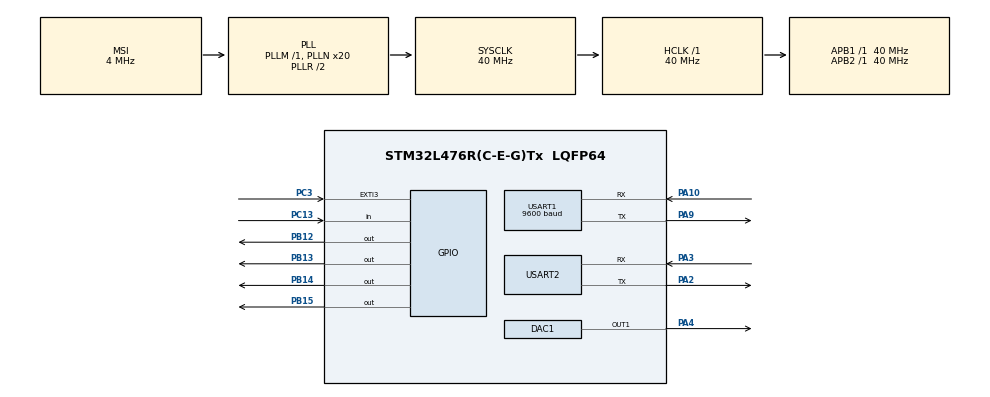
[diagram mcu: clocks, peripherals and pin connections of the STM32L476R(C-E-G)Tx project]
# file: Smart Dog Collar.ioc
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DAC1.DAC_Trigger-DAC_OUT1=DAC_TRIGGER_T2_TRGO
Dma.DAC_CH1.0.Direction=DMA_MEMORY_TO_PERIPH
Dma.DAC_CH1.0.Instance=DMA2_Channel4
Dma.DAC_CH1.0.MemDataAlignment=DMA_MDATAALIGN_BYTE
Dma.DAC_CH1.0.MemInc=DMA_MINC_ENABLE
Dma.DAC_CH1.0.Mode=DMA_NORMAL
Dma.DAC_CH1.0.PeriphDataAlignment=DMA_PDATAALIGN_BYTE
Dma.DAC_CH1.0.PeriphInc=DMA_PINC_DISABLE
Dma.DAC_CH1.0.Priority=DMA_PRIORITY_LOW
Dma.Request0=DAC_CH1
IWDG.Prescaler=IWDG_PRESCALER_256
IWDG.Reload=1875
Mcu.Family=STM32L4
Mcu.Name=STM32L476R(C-E-G)Tx
Mcu.Package=LQFP64
NVIC.DMA2_Channel4_IRQn=true\:0\:0\:false\:false\:true\:false\:true\:true
NVIC.PriorityGroup=NVIC_PRIORITYGROUP_4
NVIC.USART2_IRQn=true\:0\:0\:false\:false\:true\:true\:true\:true
PA10.Mode=Asynchronous
PA10.Signal=USART1_RX
PA13\ (JTMS-SWDIO).Signal=SYS_JTMS-SWDIO
PA14\ (JTCK-SWCLK).Signal=SYS_JTCK-SWCLK
PA2.Mode=Asynchronous
PA2.Signal=USART2_TX
PA3.Mode=Asynchronous
PA3.Signal=USART2_RX
PA4.Signal=COMP_DAC11_group
PA9.Mode=Asynchronous
PA9.Signal=USART1_TX
PB12.Signal=GPIO_Output
PB13.Signal=GPIO_Output
PB14.Signal=GPIO_Output
PB15.Signal=GPIO_Output
PC13.Signal=GPIO_Input
PC3.Signal=GPXTI3
PC4.Signal=USART3_TX
PC5.Signal=USART3_RX
PH0-OSC_IN\ (PH0).Signal=RCC_OSC_IN
ProjectManager.HeapSize=0x200
ProjectManager.StackSize=0x400
ProjectManager.TargetToolchain=STM32CubeIDE
RCC.AHBFreq_Value=40000000
RCC.APB1Freq_Value=40000000
RCC.APB1TimFreq_Value=40000000
RCC.APB2Freq_Value=40000000
RCC.APB2TimFreq_Value=40000000
RCC.CortexFreq_Value=40000000
RCC.HCLKFreq_Value=40000000
RCC.HSE_VALUE=8000000
RCC.HSI_VALUE=16000000
RCC.LSE_VALUE=32768
RCC.MSI_VALUE=4000000
RCC.PLLN=20
RCC.SYSCLKFreq_VALUE=40000000
RCC.SYSCLKSource=RCC_SYSCLKSOURCE_PLLCLK
RCC.VCOOutputFreq_Value=80000000
SH.COMP_DAC11_group.0=DAC1_OUT1,DAC_OUT1
TIM2.Period=1250
TIM2.TIM_MasterOutputTrigger=TIM_TRGO_UPDATE
USART1.BaudRate=9600
USART1.Mode=MODE_RX
USART1.VirtualMode-Asynchronous=VM_ASYNC
USART2.VirtualMode-Asynchronous=VM_ASYNC
VP_IWDG_VS_IWDG.Mode=IWDG_Activate
VP_TIM2_VS_ClockSourceINT.Mode=Internal
board=custom

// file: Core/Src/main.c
/* USER CODE BEGIN Header */
/**
  ******************************************************************************
  * @file           : main.c
  * @brief          : Main program body
  ******************************************************************************
  * @attention
  *
  * Copyright (c) 2024 STMicroelectronics.
  * All rights reserved.
  *
  * This software is licensed under terms that can be found in the LICENSE file
  * in the root directory of this software component.
  * If no LICENSE file comes with this software, it is provided AS-IS.
  *
  ******************************************************************************
  */
/* USER CODE END Header */
#include "main.h"

/* USER CODE BEGIN Includes */
#include "stm32l476xx.h"
#include "stm32l4xx.h"
#include <stdint.h>
#include <stdio.h>
#include <math.h>
#include <string.h>
/* USER CODE END Includes */

DAC_HandleTypeDef hdac1;
DMA_HandleTypeDef hdma_dac_ch1;

IWDG_HandleTypeDef hiwdg;

TIM_HandleTypeDef htim2;

UART_HandleTypeDef huart1;
UART_HandleTypeDef huart2;

void SystemClock_Config(void);
static void MX_GPIO_Init(void);
static void MX_DMA_Init(void);
static void MX_USART2_UART_Init(void);
static void MX_DAC1_Init(void);
static void MX_USART1_UART_Init(void);
static void MX_TIM2_Init(void);
static void MX_IWDG_Init(void);
/* USER CODE BEGIN PFP */
#ifdef __GNUC__
#define PUTCHAR_PROTOTYPE int __io_putchar(int ch)
#else
#define PUTCHAR_PROTOTYPE int fputc(int ch, FILE *f)
#endif

PUTCHAR_PROTOTYPE
{
  HAL_UART_Transmit(&huart2, (uint8_t *)&ch, 1, HAL_MAX_DELAY);
  return ch;
}

//LoRa uart and dma enable
void init_usart3(void);
void enable_tty_interrupt(void);

//LoRa settings and sending data
void send_lora(char *, int, int);
void setup_lora(void);

//timer for GPS interrupt
void init_tim7();

/* USER CODE END PFP */

/* USER CODE BEGIN 0 */

//LoRa uart rolling buffer
#define FIFOSIZE 16
char serfifo[FIFOSIZE];
int seroffset = 0;

//LoRa buffers
#define LORA_BUF_SIZE 240
uint8_t tx_data_lora[LORA_BUF_SIZE];
uint8_t tx_received[24] = "AT+SEND=123,8,Received\r\n";
// uint8_t rx_data_lora[LORA_BUF_SIZE];

//GPS
#define GNGGA_SIZE 36
uint8_t rx_data_gps[GNGGA_SIZE];
uint8_t isG;
uint8_t gpsbuf;

//Audio Sounds
const uint8_t zero[1] = {0};
extern const uint8_t stopCommand[18200];
extern const uint8_t whistle[24580];
extern const uint8_t Se7enNo[19316];

/* USER CODE END 0 */

int main(void)
{

  /* MCU Configuration--------------------------------------------------------*/

  /* Reset of all peripherals, Initializes the Flash interface and the Systick. */
  HAL_Init();

  /* Configure the system clock */
  SystemClock_Config();

  /* Initialize all configured peripherals */
  MX_GPIO_Init();
  MX_DMA_Init();
  MX_USART2_UART_Init();
  MX_DAC1_Init();
  MX_USART1_UART_Init();
  MX_TIM2_Init();
  MX_IWDG_Init();
  /* USER CODE BEGIN 2 */

  printf("Start of code\r\n");

  bzero(serfifo, FIFOSIZE);
  init_usart3();
  enable_tty_interrupt();
  setup_lora();

  init_tim7();

  HAL_GPIO_WritePin(GPIOB, GPIO_PIN_12, 0);
  HAL_GPIO_WritePin(GPIOB, GPIO_PIN_13, 0);
  HAL_GPIO_WritePin(GPIOB, GPIO_PIN_14, 0);
  HAL_GPIO_WritePin(GPIOB, GPIO_PIN_15, 0);

  HAL_TIM_Base_Start_IT(&htim2);

  // HAL_DAC_Start_DMA(&hdac1, DAC_CHANNEL_1, (uint8_t*)zero, 1, DAC_ALIGN_8B_R);

  // HAL_Delay(5000);
  // HAL_TIM_Base_Start_IT(&htim7);

  // HAL_NVIC_SetPriority(TIM7_IRQn, 15, 0);
  // HAL_NVIC_SetPriority(USART3_IRQn, 0, 0);

  /* USER CODE END 2 */

  /* Infinite loop */
  while (1)
  {

    /* USER CODE BEGIN 3 */

    // while (!(USART3->ISR & USART_ISR_RXNE)) { }
    // char c = USART3->RDR;
    // while(!(USART3->ISR & USART_ISR_TXE)) { }
    // USART3->TDR = c;

    // HAL_DAC_Start_DMA(&hdac1, DAC_CHANNEL_1, (uint8_t*)stopCommand, 18200, DAC_ALIGN_8B_R);
    // HAL_GPIO_TogglePin(GPIOA, GPIO_PIN_5);
    HAL_Delay(1000);
    HAL_IWDG_Refresh(&hiwdg);

  }

  /* USER CODE END 3 */
}

void SystemClock_Config(void)
{
  RCC_OscInitTypeDef RCC_OscInitStruct = {0};
  RCC_ClkInitTypeDef RCC_ClkInitStruct = {0};

  /** Configure the main internal regulator output voltage
  */
  if (HAL_PWREx_ControlVoltageScaling(PWR_REGULATOR_VOLTAGE_SCALE1) != HAL_OK)
  {
    Error_Handler();
  }

  /** Initializes the RCC Oscillators according to the specified parameters
  * in the RCC_OscInitTypeDef structure.
  */
  RCC_OscInitStruct.OscillatorType = RCC_OSCILLATORTYPE_LSI|RCC_OSCILLATORTYPE_MSI;
  RCC_OscInitStruct.LSIState = RCC_LSI_ON;
  RCC_OscInitStruct.MSIState = RCC_MSI_ON;
  RCC_OscInitStruct.MSICalibrationValue = 0;
  RCC_OscInitStruct.MSIClockRange = RCC_MSIRANGE_6;
  RCC_OscInitStruct.PLL.PLLState = RCC_PLL_ON;
  RCC_OscInitStruct.PLL.PLLSource = RCC_PLLSOURCE_MSI;
  RCC_OscInitStruct.PLL.PLLM = 1;
  RCC_OscInitStruct.PLL.PLLN = 20;
  RCC_OscInitStruct.PLL.PLLP = RCC_PLLP_DIV7;
  RCC_OscInitStruct.PLL.PLLQ = RCC_PLLQ_DIV2;
  RCC_OscInitStruct.PLL.PLLR = RCC_PLLR_DIV2;
  if (HAL_RCC_OscConfig(&RCC_OscInitStruct) != HAL_OK)
  {
    Error_Handler();
  }

  /** Initializes the CPU, AHB and APB buses clocks
  */
  RCC_ClkInitStruct.ClockType = RCC_CLOCKTYPE_HCLK|RCC_CLOCKTYPE_SYSCLK
                              |RCC_CLOCKTYPE_PCLK1|RCC_CLOCKTYPE_PCLK2;
  RCC_ClkInitStruct.SYSCLKSource = RCC_SYSCLKSOURCE_PLLCLK;
  RCC_ClkInitStruct.AHBCLKDivider = RCC_SYSCLK_DIV1;
  RCC_ClkInitStruct.APB1CLKDivider = RCC_HCLK_DIV1;
  RCC_ClkInitStruct.APB2CLKDivider = RCC_HCLK_DIV1;

  if (HAL_RCC_ClockConfig(&RCC_ClkInitStruct, FLASH_LATENCY_2) != HAL_OK)
  {
    Error_Handler();
  }
}

static void MX_DAC1_Init(void)
{

  DAC_ChannelConfTypeDef sConfig = {0};

  /** DAC Initialization
  */
  hdac1.Instance = DAC1;
  if (HAL_DAC_Init(&hdac1) != HAL_OK)
  {
    Error_Handler();
  }

  /** DAC channel OUT1 config
  */
  sConfig.DAC_SampleAndHold = DAC_SAMPLEANDHOLD_DISABLE;
  sConfig.DAC_Trigger = DAC_TRIGGER_T2_TRGO;
  sConfig.DAC_OutputBuffer = DAC_OUTPUTBUFFER_ENABLE;
  sConfig.DAC_ConnectOnChipPeripheral = DAC_CHIPCONNECT_DISABLE;
  sConfig.DAC_UserTrimming = DAC_TRIMMING_FACTORY;
  if (HAL_DAC_ConfigChannel(&hdac1, &sConfig, DAC_CHANNEL_1) != HAL_OK)
  {
    Error_Handler();
  }

}

static void MX_IWDG_Init(void)
{

  hiwdg.Instance = IWDG;
  hiwdg.Init.Prescaler = IWDG_PRESCALER_256;
  hiwdg.Init.Window = 4095;
  hiwdg.Init.Reload = 1875;
  if (HAL_IWDG_Init(&hiwdg) != HAL_OK)
  {
    Error_Handler();
  }

}

static void MX_TIM2_Init(void)
{

  TIM_ClockConfigTypeDef sClockSourceConfig = {0};
  TIM_MasterConfigTypeDef sMasterConfig = {0};

  htim2.Instance = TIM2;
  htim2.Init.Prescaler = 0;
  htim2.Init.CounterMode = TIM_COUNTERMODE_UP;
  htim2.Init.Period = 1250;
  htim2.Init.ClockDivision = TIM_CLOCKDIVISION_DIV1;
  htim2.Init.AutoReloadPreload = TIM_AUTORELOAD_PRELOAD_DISABLE;
  if (HAL_TIM_Base_Init(&htim2) != HAL_OK)
  {
    Error_Handler();
  }
  sClockSourceConfig.ClockSource = TIM_CLOCKSOURCE_INTERNAL;
  if (HAL_TIM_ConfigClockSource(&htim2, &sClockSourceConfig) != HAL_OK)
  {
    Error_Handler();
  }
  sMasterConfig.MasterOutputTrigger = TIM_TRGO_UPDATE;
  sMasterConfig.MasterSlaveMode = TIM_MASTERSLAVEMODE_DISABLE;
  if (HAL_TIMEx_MasterConfigSynchronization(&htim2, &sMasterConfig) != HAL_OK)
  {
    Error_Handler();
  }

}

static void MX_USART1_UART_Init(void)
{

  huart1.Instance = USART1;
  huart1.Init.BaudRate = 9600;
  huart1.Init.WordLength = UART_WORDLENGTH_8B;
  huart1.Init.StopBits = UART_STOPBITS_1;
  huart1.Init.Parity = UART_PARITY_NONE;
  huart1.Init.Mode = UART_MODE_RX;
  huart1.Init.HwFlowCtl = UART_HWCONTROL_NONE;
  huart1.Init.OverSampling = UART_OVERSAMPLING_16;
  huart1.Init.OneBitSampling = UART_ONE_BIT_SAMPLE_DISABLE;
  huart1.AdvancedInit.AdvFeatureInit = UART_ADVFEATURE_NO_INIT;
  if (HAL_UART_Init(&huart1) != HAL_OK)
  {
    Error_Handler();
  }

}

static void MX_USART2_UART_Init(void)
{

  huart2.Instance = USART2;
  huart2.Init.BaudRate = 115200;
  huart2.Init.WordLength = UART_WORDLENGTH_8B;
  huart2.Init.StopBits = UART_STOPBITS_1;
  huart2.Init.Parity = UART_PARITY_NONE;
  huart2.Init.Mode = UART_MODE_TX_RX;
  huart2.Init.HwFlowCtl = UART_HWCONTROL_NONE;
  huart2.Init.OverSampling = UART_OVERSAMPLING_16;
  huart2.Init.OneBitSampling = UART_ONE_BIT_SAMPLE_DISABLE;
  huart2.AdvancedInit.AdvFeatureInit = UART_ADVFEATURE_NO_INIT;
  if (HAL_UART_Init(&huart2) != HAL_OK)
  {
    Error_Handler();
  }

}

static void MX_DMA_Init(void)
{

  /* DMA controller clock enable */
  __HAL_RCC_DMA2_CLK_ENABLE();

  /* DMA interrupt init */
  /* DMA2_Channel4_IRQn interrupt configuration */
  HAL_NVIC_SetPriority(DMA2_Channel4_IRQn, 0, 0);
  HAL_NVIC_EnableIRQ(DMA2_Channel4_IRQn);

}

static void MX_GPIO_Init(void)
{
  GPIO_InitTypeDef GPIO_InitStruct = {0};

  /* GPIO Ports Clock Enable */
  __HAL_RCC_GPIOC_CLK_ENABLE();
  __HAL_RCC_GPIOH_CLK_ENABLE();
  __HAL_RCC_GPIOA_CLK_ENABLE();
  __HAL_RCC_GPIOB_CLK_ENABLE();

  /*Configure GPIO pin Output Level */
  HAL_GPIO_WritePin(GPIOB, GPIO_PIN_12|GPIO_PIN_13|GPIO_PIN_14|GPIO_PIN_15, GPIO_PIN_RESET);

  /*Configure GPIO pin : PC13 */
  GPIO_InitStruct.Pin = GPIO_PIN_13;
  GPIO_InitStruct.Mode = GPIO_MODE_INPUT;
  GPIO_InitStruct.Pull = GPIO_NOPULL;
  HAL_GPIO_Init(GPIOC, &GPIO_InitStruct);

  /*Configure GPIO pin : PC3 */
  GPIO_InitStruct.Pin = GPIO_PIN_3;
  GPIO_InitStruct.Mode = GPIO_MODE_IT_RISING;
  GPIO_InitStruct.Pull = GPIO_NOPULL;
  HAL_GPIO_Init(GPIOC, &GPIO_InitStruct);

  /*Configure GPIO pins : PC4 PC5 */
  GPIO_InitStruct.Pin = GPIO_PIN_4|GPIO_PIN_5;
  GPIO_InitStruct.Mode = GPIO_MODE_AF_PP;
  GPIO_InitStruct.Pull = GPIO_NOPULL;
  GPIO_InitStruct.Speed = GPIO_SPEED_FREQ_VERY_HIGH;
  GPIO_InitStruct.Alternate = GPIO_AF7_USART3;
  HAL_GPIO_Init(GPIOC, &GPIO_InitStruct);

  /*Configure GPIO pins : PB12 PB13 PB14 PB15 */
  GPIO_InitStruct.Pin = GPIO_PIN_12|GPIO_PIN_13|GPIO_PIN_14|GPIO_PIN_15;
  GPIO_InitStruct.Mode = GPIO_MODE_OUTPUT_PP;
  GPIO_InitStruct.Pull = GPIO_NOPULL;
  GPIO_InitStruct.Speed = GPIO_SPEED_FREQ_LOW;
  HAL_GPIO_Init(GPIOB, &GPIO_InitStruct);

}

/* USER CODE BEGIN 4 */

void setup_lora(void){

  HAL_Delay(200);
  send_lora("AT\r\n", 4, 5); //basic stm to lora check (rcv: +OK)
  // HAL_Delay(200);
  // send_lora("AT+FACTORY\r\n", 12, 8); //set to factory default (rcv: +FACTORY)
  HAL_Delay(200);
  send_lora("AT+ADDRESS=124\r\n", 16, 5); //set lora address (rcv: +OK)
  HAL_Delay(200);
  send_lora("AT+NETWORKID=7\r\n", 16, 5); //set network id (rcv: +OK)
  HAL_Delay(200);
  send_lora("AT+CPIN=102C064CA409E69030F73E7CABAA4B71\r\n", 42, 5); //set AES pin (rcv: +OK)
  HAL_Delay(200);

  printf("Done setting up LoRa\r\n");
  HAL_IWDG_Refresh(&hiwdg);
}

void send_lora(char *msg, int size, int resp_size){
  bzero(tx_data_lora, LORA_BUF_SIZE);
  // bzero(rx_data_lora, LORA_BUF_SIZE);
  memcpy(tx_data_lora, msg, size);

  for(int i = 0; i < size; i++){ //transmit each char, one at a time
    while(!(USART3->ISR & USART_ISR_TXE)) { }
    USART3->TDR = tx_data_lora[i];
  }
  HAL_IWDG_Refresh(&hiwdg);

  // while(HAL_UART_Receive(&huart3, rx_data_lora, resp_size, 1000)!=HAL_OK){}
  // HAL_UART_Transmit(&huart2, serfifo, resp_size, 10);
}

void init_usart3() { //LoRa
    RCC->AHB2ENR |= RCC_AHB2ENR_GPIOCEN; //turn on GPIO C
    GPIOC->MODER &= ~(GPIO_MODER_MODER4 | GPIO_MODER_MODER5); //clear pc12
    GPIOC->MODER |= GPIO_MODER_MODER4_1 | GPIO_MODER_MODER5_1; //PC12 as alternate function

    GPIOC->AFR[0] &= ~0x00ff0000; //AF7
    GPIOC->AFR[0] |=  0x00770000;

    RCC->APB1ENR1 |= RCC_APB1ENR1_USART3EN; //enable usart5 clock
    USART3->CR1 &= ~USART_CR1_UE; //disable usart3

    USART3->CR1 &= ~USART_CR1_M; //set word size to 8 by clearing M0 and M1
    USART3->CR2 &= ~USART_CR2_STOP; //one stop bit
    USART3->CR1 &= ~USART_CR1_PCE; //disable parity bit
    USART3->CR1 &= ~USART_CR1_OVER8; //16x oversampling
    USART3->BRR = 40000000/115200; //Baud rate of 115200 (table 249)
    USART3->CR1 |= USART_CR1_TE; //enable transmitter
    USART3->CR1 |= USART_CR1_RE; //enable receiver

    USART3->CR1 |= USART_CR1_UE; //enable usart5

    while(!(USART3->ISR & (USART_ISR_TEACK | USART_ISR_REACK))); //wait for TE and RE to be acknowledged
    HAL_IWDG_Refresh(&hiwdg);
}

void enable_tty_interrupt(void) {
    // TODO
    USART3->CR1 |= USART_CR1_RXNEIE; //enable interupt when receive data register becomes not empty.
    NVIC->ISER[1] = 1 << (USART3_IRQn-32);

    USART3->CR3 |= USART_CR3_DMAR; //enable DMA mode
    RCC->AHB1ENR |= RCC_AHB1ENR_DMA1EN; //Enable DMA1 clock

    DMA1_CSELR->CSELR &= ~0x00000f00; //clear channel 3
    DMA1_CSELR->CSELR |=  0x00000200; //select channel 3 to be usart3rx
    DMA1_Channel3->CCR &= ~DMA_CCR_EN; //disable dma1 channel 3

    DMA1_Channel3->CMAR = (uint32_t) serfifo; //set memory address
    DMA1_Channel3->CPAR = (uint32_t) &(USART3->RDR); //set peripheral address
    DMA1_Channel3->CNDTR = FIFOSIZE; //number of elements you are trying to transfer
    DMA1_Channel3->CCR &= ~DMA_CCR_DIR; //dir set to from-p-to-m
    DMA1_Channel3->CCR |= DMA_CCR_MINC; //minc set to increment memory
    DMA1_Channel3->CCR &= ~DMA_CCR_PINC; //pinc disabled
    DMA1_Channel3->CCR &= ~(DMA_CCR_PSIZE | DMA_CCR_MSIZE); //MSIZE and PSIZE set to 8 bits
    DMA1_Channel3->CCR |= DMA_CCR_CIRC; //circ enabled
    DMA1_Channel3->CCR &= ~(DMA_CCR_TCIE | DMA_CCR_HTIE | DMA_CCR_TEIE); //disable total and half transfer interrupt
    DMA1_Channel3->CCR &= ~DMA_CCR_MEM2MEM; //disable mem2mem
    DMA1_Channel3->CCR |= DMA_CCR_PL; //set priority level to highest

    DMA1_Channel3->CCR |= DMA_CCR_EN; //enable dma1 channel 3
}

void USART3_IRQHandler(void){
  // while(DMA1_Channel3->CNDTR != sizeof serfifo - seroffset) //printing character
  // {
  //   while(!(USART3->ISR & USART_ISR_TXE)) { }
  //   USART3->TDR = serfifo[seroffset];
  //   seroffset = (seroffset + 1) % sizeof serfifo;
  // }

  // while(DMA1_Channel3->CNDTR != sizeof serfifo - seroffset)
  // {
  //   // while(!(USART3->ISR & USART_ISR_TXE)) { }
  //   // USART3->TDR = serfifo[seroffset];
  //   // HAL_UART_Transmit(&huart2, serfifo[seroffset], 1, 10);
  //   printf("Hello ");

  //   seroffset = (seroffset + 1) % sizeof serfifo;
  // }

  // printf("%c", serfifo[seroffset]);
  // if(seroffset == 0){
  //   printf("%c%c", serfifo[FIFOSIZE-1], serfifo[seroffset]);
  // }else{
  //   printf("%c%c", serfifo[seroffset-1], serfifo[seroffset]);
  // }

  while(DMA1_Channel3->CNDTR != sizeof serfifo - seroffset){
    printf("%c", serfifo[seroffset]);
    // HAL_GPIO_TogglePin(GPIOB, GPIO_PIN_13);
    uint8_t audio_cue = serfifo[seroffset];
    // printf("%c", audio_cue);

    if(audio_cue == 'a'){
      // printf("Audio %c", audio_cue);
       HAL_GPIO_TogglePin(GPIOB, GPIO_PIN_12);
       HAL_DAC_Start_DMA(&hdac1, DAC_CHANNEL_1, (uint8_t*)whistle, 24580, DAC_ALIGN_8B_R);
        for(int i = 0; i < 24; i++){ //send received signal
          while(!(USART3->ISR & USART_ISR_TXE)) { }
          USART3->TDR = tx_received[i];
        }
     }
     else if(audio_cue == 'b'){
      // printf("Audio %c", audio_cue);
       HAL_GPIO_TogglePin(GPIOB, GPIO_PIN_12);
       HAL_DAC_Start_DMA(&hdac1, DAC_CHANNEL_1, (uint8_t*)stopCommand, 18200, DAC_ALIGN_8B_R);
        for(int i = 0; i < 24; i++){ //send received signal
          while(!(USART3->ISR & USART_ISR_TXE)) { }
          USART3->TDR = tx_received[i];
        }
     }
     else if(audio_cue == 'd'){
      // printf("Audio %c", audio_cue);
       HAL_GPIO_TogglePin(GPIOB, GPIO_PIN_12);
       // HAL_DAC_Start_DMA(&hdac1, DAC_CHANNEL_1, (uint8_t*)noCommand, 22332, DAC_ALIGN_8B_R);
       HAL_DAC_Start_DMA(&hdac1, DAC_CHANNEL_1, (uint8_t*)Se7enNo, 19316, DAC_ALIGN_8B_R);
        for(int i = 0; i < 24; i++){ //send received signal
          while(!(USART3->ISR & USART_ISR_TXE)) { }
          USART3->TDR = tx_received[i];
        }

     }
    //  else if(audio_cue == 'D'){
    //    HAL_GPIO_TogglePin(GPIOB, GPIO_PIN_12);
    //    // HAL_DAC_Start_DMA(&hdac1, DAC_CHANNEL_1, (uint8_t*)comeHome, 22908, DAC_ALIGN_8B_R);
    //  }

    // if((audio_cue == 'A') || (audio_cue == 'B')||(audio_cue == 'D')){
    //   for(int i = 0; i < 24; i++){ //send received signal
    //     while(!(USART3->ISR & USART_ISR_TXE)) { }
    //     USART3->TDR = tx_received[i];
    //   }
    // }

    seroffset = (seroffset + 1) % sizeof serfifo;
  }

  // printf("%c", serfifo[seroffset]);
  // HAL_GPIO_TogglePin(GPIOB, GPIO_PIN_13);
  // if((serfifo[seroffset] == 'A') || (serfifo[seroffset] == 'B') || (serfifo[seroffset] == 'C')){
  //   HAL_GPIO_TogglePin(GPIOB, GPIO_PIN_12);

  //   for(int i = 0; i < 24; i++){ //send received signal
  //     while(!(USART3->ISR & USART_ISR_TXE)) { }
  //     USART3->TDR = tx_received[i];
  //   }
  //   // send_lora(tx_received, 24, 5);
  //   // printf("Data sent\r\n");
  // }

  // seroffset = (seroffset + 1) % sizeof serfifo;

  // send_lora(tx_received, 24, 5);
  HAL_IWDG_Refresh(&hiwdg);
}

void TIM7_IRQHandler(void)
{
  TIM7->SR &= ~TIM_SR_UIF; //acknowledge the interrupt

  // printf("Start of GPS interrupt\r\n");
  HAL_GPIO_TogglePin(GPIOB, GPIO_PIN_14);

  isG = 0;
  while(1){
    HAL_UART_Receive(&huart1, &gpsbuf, 1, 10);
    if(gpsbuf == 'G'){ //G found
      isG = 1;
    }
    else if(isG == 1){
      if(gpsbuf == 'A'){ //GA found
        HAL_UART_Receive(&huart1, rx_data_gps, GNGGA_SIZE, 100);
        break;
      }
      else{
        isG = 0;
      }

    }
  }

  // printf("GPS DATA: %s\n\r", rx_data_gps);
  // printf("Parsed: %s\n\r", rx_data_gps+12);

  // HAL_UART_Transmit(&huart3, txsend, strlen(txsend), 1000);
  // bzero(rx_data_lora, GNGGA_SIZE);
  // for(int i = 0; i < 38; i++){ //send received signal
  //   while(!(USART3->ISR & USART_ISR_TXE)) { }
  //   USART3->TDR = txsend[i];
  // }

  if(rx_data_gps[12] == ','){ //No fix found
    HAL_GPIO_WritePin(GPIOB, GPIO_PIN_15, 1);
    HAL_GPIO_WritePin(GPIOB, GPIO_PIN_13, 0);
  }else{ //fix found
    HAL_GPIO_WritePin(GPIOB, GPIO_PIN_15, 0);
    HAL_GPIO_WritePin(GPIOB, GPIO_PIN_13, 1);

    // uint8_t temp[25] = "4025.7373,N,08654.7737,W";
    uint8_t txsend[41] = "AT+SEND=123,24,";
    strncat(txsend, rx_data_gps+12,24);
    // strncat(txsend, temp,24);
    strncat(txsend, "\r\n",2);
    // printf("RX gps: %s", txsend);

    // uint8_t temp2[41] = "AT+SEND=123,24,4025.7373,N,08654.7737,W\r\n";
    for(int i = 0; i < 41; i++){ //send received signal
      while(!(USART3->ISR & USART_ISR_TXE)) { }
      USART3->TDR = txsend[i];
      // USART3->TDR = temp2[i];
    }

    // uint8_t tx_received[24] = "AT+SEND=123,8,Received\r\n";
    // for(int i = 0; i < 24; i++){ //send received signal
    //     while(!(USART3->ISR & USART_ISR_TXE)) { }
    //     USART3->TDR = tx_received[i];
    //   }
  }

  bzero(rx_data_gps, GNGGA_SIZE);
  HAL_IWDG_Refresh(&hiwdg);

  /* USER CODE END TIM7_IRQn 1 */
}

void init_tim7() {
    RCC->APB1ENR1 |= RCC_APB1ENR1_TIM7EN; //enable TIM7 clock

    //period(sec) = (ARR * PSC) / CLK
    int period = 10;
    TIM7->PSC = 20000 - 1; //prescaler
    TIM7->ARR = (2000*period)- 1; //auto reload register
    TIM7->DIER |= TIM_DIER_UIE; //update interrupt enable
    NVIC->ISER[1] |= 1 << (TIM7_IRQn-32); //enable interrupt in nvic
    TIM7->CR1 |= TIM_CR1_CEN; //start timer
}

/* USER CODE END 4 */

void Error_Handler(void)
{
  __disable_irq();
  while (1)
  {
  }
}
